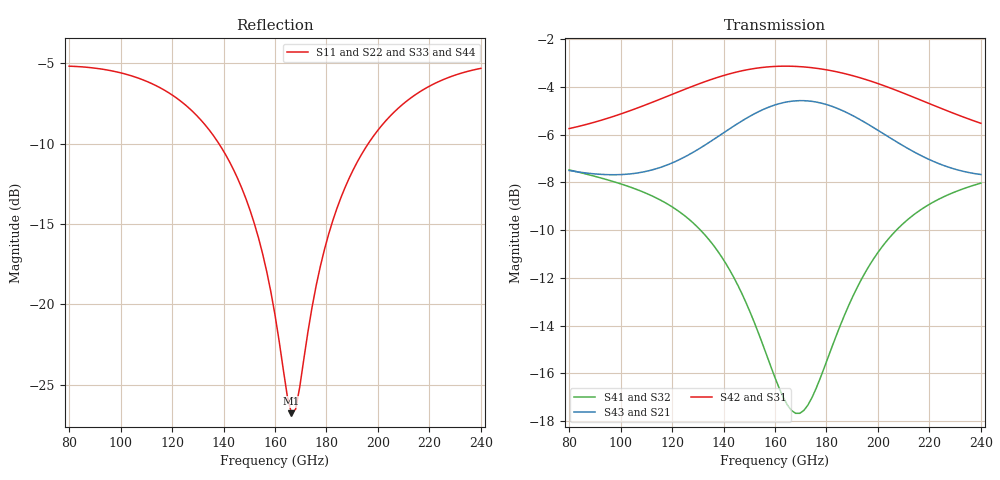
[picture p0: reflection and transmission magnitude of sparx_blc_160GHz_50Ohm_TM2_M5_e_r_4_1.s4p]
#  GHZ S DB R 50.0
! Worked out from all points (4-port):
!   101 points, 80 GHz to 240 GHz, reference 50 ohm
!   strongest paths, dB at 80 GHz, 120 GHz, 160 GHz, 200 GHz, 240 GHz:
!     S42: -5.7, -4.3, -3.1, -3.9, -5.5
!     S31: -5.7, -4.3, -3.1, -3.9, -5.5
!     S43: -7.5, -7.2, -4.7, -5.8, -7.7
!     S21: -7.5, -7.2, -4.7, -5.8, -7.7
!     S41: -7.5, -9.0, -16.2, -10.9, -8.0
!     S32: -7.5, -9.0, -16.2, -10.9, -8.0
!   lowest |S11| = -26.8 dB at 166.4 GHz (marker M1), VSWR 1.10, Z = 54.8 + j0.077 ohm
!   |S11| at or under -10 dB: 138.2 GHz to 196.3 GHz (58.12 GHz wide, 34.8 % of centre)
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80  -5.19 158.0  -7.50 -48.6  -5.74 -79.4  -7.47 -62.1
    -7.50 -48.6  -5.19 158.1  -7.47 -62.0  -5.74 -79.4
    -5.74 -79.4  -7.47 -62.0  -5.19 158.1  -7.50 -48.6
    -7.47 -62.1  -5.74 -79.4  -7.50 -48.6  -5.19 158.0
139.2  -10.26 105.4  -5.98 -70.9  -3.54 -146.6  -11.11 -111.6
       -5.98 -70.9  -10.27 105.5  -11.10 -111.6  -3.54 -146.6
       -3.54 -146.6  -11.10 -111.6  -10.27 105.5  -5.98 -70.9
       -11.11 -111.6  -3.54 -146.6  -5.98 -70.9  -10.26 105.4
153.6  -15.88 81.4  -5.03 -82.9  -3.20 -166.8  -14.32 -118.1
       -5.03 -82.9  -15.90 81.4  -14.31 -118.2  -3.20 -166.8
       -3.20 -166.8  -14.31 -118.2  -15.90 81.4  -5.03 -82.9
       -14.32 -118.1  -3.20 -166.8  -5.03 -82.9  -15.88 81.4
166.4  -26.77 0.9  -4.59 -96.4  -3.13 174.7  -17.56 -101.6
       -4.59 -96.4  -26.76 0.3  -17.56 -101.8  -3.13 174.7
       -3.13 174.7  -17.56 -101.8  -26.78 0.4  -4.59 -96.4
       -17.56 -101.6  -3.13 174.7  -4.59 -96.4  -26.80 0.8
179.2  -16.60 -92.7  -4.71 -110.5  -3.26 156.5  -15.75 -75.4
       -4.71 -110.5  -16.57 -92.7  -15.77 -75.5  -3.26 156.5
       -3.26 156.5  -15.77 -75.5  -16.57 -92.7  -4.71 -110.5
       -15.75 -75.4  -3.26 156.5  -4.71 -110.5  -16.60 -92.8
192  -11.14 -114.7  -5.30 -123.0  -3.58 138.7  -12.39 -74.8
     -5.30 -123.0  -11.12 -114.7  -12.41 -74.8  -3.58 138.7
     -3.58 138.7  -12.41 -74.8  -11.12 -114.7  -5.30 -123.0
     -12.39 -74.8  -3.58 138.7  -5.30 -123.0  -11.14 -114.8
240  -5.33 -161.2  -7.67 -147.3  -5.52 81.4  -8.03 -115.6
     -7.67 -147.3  -5.32 -161.1  -8.04 -115.5  -5.52 81.4
     -5.52 81.4  -8.04 -115.5  -5.32 -161.1  -7.67 -147.3
     -8.03 -115.6  -5.52 81.4  -7.67 -147.3  -5.33 -161.2
